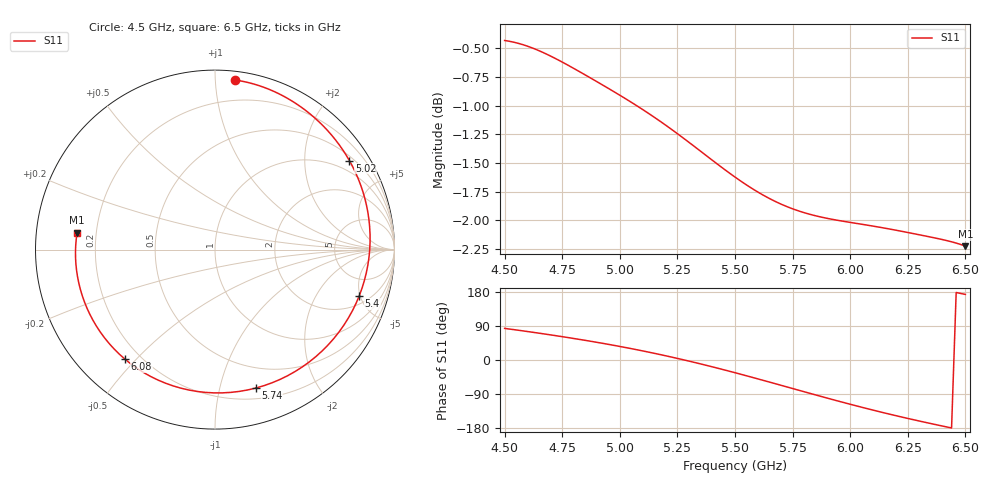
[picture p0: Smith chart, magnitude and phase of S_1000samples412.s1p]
! TOUCHSTONE file generated by CST MICROWAVE STUDIO
! Date and time: Fri Oct 28 02:06:38 2022
! Project name: L.cst
! Parameters = {Di=1.27; Epsilon_r=1.56; InnerDiameter=1.27; Length=2; Lf=10; Lg=60; OuterConductorThickness=0.2921; OuterDiameter=3.6; Wf=3; Wp=41.2; de=1.5; df=6.8; g=0.8; gx=3.77198; gy=1.65963; h=2.34; hf=1.524; px=9.86353; py=10.3819; w=9.7; wx=6.09155; wy=8.72232}
! Header version: 2018
! Port assignment regex: !\s*Touchstone port\s*([0-9]+)\s*=\s*(CST MWS port|CST DS port)\s*([0-9]+|Zmin|Zmax)\s*\(\"(.*)\"\)(\s*mode\s*([0-9]+))?.*
! Touchstone port assignment:
! Touchstone port 1 = CST MWS port 1 ("")
# GHz S DB R 50
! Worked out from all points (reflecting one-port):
!   101 points, 4.5 GHz to 6.5 GHz, reference 50 ohm
!   lowest |S11| = -2.2 dB at 6.5 GHz (marker M1), VSWR 7.85, Z = 6.4 + j2.99 ohm
!   phase of S11 starts at 83 deg and turns -270 deg over the sweep
!   S11 on the Smith chart (normalised r, x): 4.5 GHz: 0.06, +1.12; 5.02 GHz: 0.63, +3.21; 5.4 GHz: 2.74, -4.91; 5.74 GHz: 0.30, -1.29; 6.08 GHz: 0.14, -0.47; 6.5 GHz: 0.13, +0.06
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4.5  -0.43 83.4
4.64  -0.51 71.6
4.76  -0.63 60.6
4.88  -0.77 48.8
5  -0.91 35.8
5.02  -0.93 33.5
5.14  -1.09 18.9
5.2  -1.17 11.0
5.26  -1.26 2.8
5.34  -1.38 -8.7
5.4  -1.47 -17.8
5.5  -1.62 -33.5
5.56  -1.71 -43.3
5.62  -1.78 -53.3
5.68  -1.84 -63.4
5.74  -1.89 -73.6
5.76  -1.91 -77.0
5.82  -1.95 -87.1
5.88  -1.98 -97.2
5.94  -2.00 -107.1
6  -2.02 -116.8
6.08  -2.04 -129.3
6.18  -2.08 -144.2
6.26  -2.11 -155.6
6.32  -2.14 -163.7
6.38  -2.16 -171.6
6.44  -2.19 -179.4
6.5  -2.23 173.0
